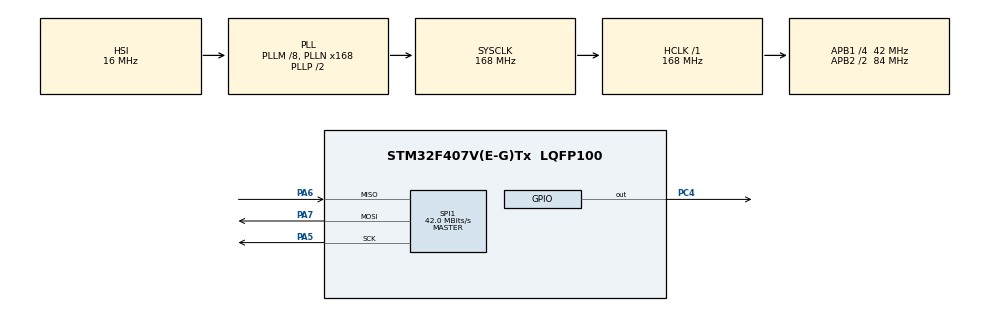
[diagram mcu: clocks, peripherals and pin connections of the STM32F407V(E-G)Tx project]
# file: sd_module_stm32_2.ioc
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FATFS._MAX_SS=4096
FATFS._USE_LFN=1
Mcu.Family=STM32F4
Mcu.Name=STM32F407V(E-G)Tx
Mcu.Package=LQFP100
NVIC.PriorityGroup=NVIC_PRIORITYGROUP_0
PA13.Mode=Serial_Wire
PA13.Signal=SYS_JTMS-SWDIO
PA14.Mode=Serial_Wire
PA14.Signal=SYS_JTCK-SWCLK
PA5.Mode=Full_Duplex_Master
PA5.Signal=SPI1_SCK
PA6.Mode=Full_Duplex_Master
PA6.Signal=SPI1_MISO
PA7.Mode=Full_Duplex_Master
PA7.Signal=SPI1_MOSI
PC4.Signal=GPIO_Output
PH0-OSC_IN.Mode=HSE-External-Oscillator
PH0-OSC_IN.Signal=RCC_OSC_IN
PH1-OSC_OUT.Mode=HSE-External-Oscillator
PH1-OSC_OUT.Signal=RCC_OSC_OUT
ProjectManager.HeapSize=0x200
ProjectManager.StackSize=0x400
ProjectManager.TargetToolchain=STM32CubeIDE
RCC.48MHZClocksFreq_Value=48000000
RCC.AHBFreq_Value=168000000
RCC.APB1CLKDivider=RCC_HCLK_DIV4
RCC.APB1Freq_Value=42000000
RCC.APB1TimFreq_Value=84000000
RCC.APB2CLKDivider=RCC_HCLK_DIV2
RCC.APB2Freq_Value=84000000
RCC.APB2TimFreq_Value=168000000
RCC.CortexFreq_Value=168000000
RCC.HCLKFreq_Value=168000000
RCC.HSE_VALUE=8000000
RCC.HSI_VALUE=16000000
RCC.LSE_VALUE=32768
RCC.PLLM=8
RCC.PLLN=168
RCC.PLLQ=7
RCC.SYSCLKFreq_VALUE=168000000
RCC.SYSCLKSource=RCC_SYSCLKSOURCE_PLLCLK
RCC.VCOOutputFreq_Value=336000000
SPI1.CalculateBaudRate=42.0 MBits/s
SPI1.Direction=SPI_DIRECTION_2LINES
SPI1.Mode=SPI_MODE_MASTER
SPI1.VirtualType=VM_MASTER
VP_FATFS_VS_Generic.Mode=User_defined
board=STM32F407G-DISC1

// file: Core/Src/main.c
/* USER CODE BEGIN Header */
/**
  ******************************************************************************
  * @file           : main.c
  * @brief          : Main program body - CIFAR-10 Full Dataset Reader
  ******************************************************************************
  * @attention
  *
  * This version is optimized for reading all 10,000 CIFAR-10 validation images
  * from batch files in one-line format.
  *
  ******************************************************************************
  */
/* USER CODE END Header */
#include "main.h"
#include "fatfs.h"

/* USER CODE BEGIN Includes */
#include "fatfs_sd.h"
#include <stdio.h>
#include <string.h>
#include <stdlib.h>
/* USER CODE END Includes */

/* USER CODE BEGIN PD */

FATFS fs; // file system
FIL fil; // file
FRESULT fresult; // to store the result
char buffer[16384]; // buffer for reading lines (larger for long lines)

UINT br, bw; // file read/write count

/* capacity related variables */
FATFS *pfs;
DWORD fre_clust;
uint32_t total, free_space;

/* CIFAR-10 related variables */
uint8_t image_data[32][32][3]; // RGB image data array
uint8_t current_label; // Current image label
uint32_t current_image_index = 0; // Current image index
uint32_t total_images_read = 0; // Total images read so far

/* File names for the batch files */
const char* batch_files[] = {
    "cifar10_batch_1.txt",
    "cifar10_batch_2.txt",
    "cifar10_batch_3.txt",
    "cifar10_batch_4.txt",
    "cifar10_batch_5.txt",
    "cifar10_batch_6.txt",
    "cifar10_batch_7.txt",
    "cifar10_batch_8.txt",
    "cifar10_batch_9.txt",
    "cifar10_batch_10.txt"
};
#define NUM_BATCH_FILES (sizeof(batch_files) / sizeof(batch_files[0]))

/* Current batch file index */
uint8_t current_batch = 0;

/* Flag for processing data */
uint8_t ready_to_process = 0;
uint8_t led_state = 0;

/* USER CODE END PD */

SPI_HandleTypeDef hspi1;

void SystemClock_Config(void);
static void MX_GPIO_Init(void);
static void MX_SPI1_Init(void);
/* USER CODE BEGIN PFP */

/* Retarget printf to ITM for SWO output */
int _write(int file, char *ptr, int len) {
    int i;
    for (i = 0; i < len; i++) {
        ITM_SendChar(*ptr++);
    }
    return len;
}

/* USER CODE END PFP */

/* USER CODE BEGIN 0 */

/* Clear buffer */
void bufclear(void)
{
    memset(buffer, 0, sizeof(buffer));
}

/* Open next batch file */
FRESULT open_next_batch_file(void)
{
    FRESULT fr;

    // Close current file if open
    if (!f_error(&fil)) {
        f_close(&fil);
    }

    // Open the next batch file
    printf("Opening batch file: %s\n", batch_files[current_batch]);
    fr = f_open(&fil, batch_files[current_batch], FA_READ);
    if (fr != FR_OK) {
        printf("Failed to open batch file: %d\n", fr);
    }

    return fr;
}

/* Function to safely extract a number from a string pointer and advance the pointer */
int extract_number(char **ptr)
{
    char *start = *ptr;
    char *end;
    int value;

    // Skip any non-digit characters
    while (*start && (*start < '0' || *start > '9')) {
        start++;
    }

    // Convert to integer
    value = (int)strtol(start, &end, 10);

    // Update the pointer to the end of the number
    *ptr = end;

    return value;
}

/* Read a CIFAR-10 image from the one-line format file - more robust version */
FRESULT read_cifar_oneline_image(void)
{
    FRESULT fr;
    char *ptr, *line_ptr;
    int r, g, b;
    int expected_pixels = 32*32;
    int pixels_read = 0;

    // Clear buffer and image data
    bufclear();
    memset(image_data, 0, sizeof(image_data));

    // Check if file is open
    if (f_error(&fil)) {
        // If no file is open, open the first batch
        fr = open_next_batch_file();
        if (fr != FR_OK) {
            return fr;
        }
    }

    // Read a line from the file
    if (f_gets(buffer, sizeof(buffer), &fil) == NULL) {
        // End of file reached, try next batch
        current_batch++;
        if (current_batch >= NUM_BATCH_FILES) {
            // We've gone through all batches, start over from the first one
            current_batch = 0;
            printf("Completed all batches, starting over from batch 1\n");
        }

        // Open the next batch file
        fr = open_next_batch_file();
        if (fr != FR_OK) {
            return fr;
        }

        // Try reading again from the new file
        if (f_gets(buffer, sizeof(buffer), &fil) == NULL) {
            printf("Error reading from batch file after opening\n");
            return FR_INT_ERR;
        }
    }

    // Parse the line - first check if it has enough content
    if (strlen(buffer) < 100) { // Simple check for minimal valid length
        printf("Line too short to be valid: %lu bytes\n", (unsigned long)strlen(buffer));
        return FR_INT_ERR;
    }

    // Extract IMAGE index and LABEL
    ptr = buffer;

    // Find "IMAGE:" marker
    ptr = strstr(ptr, "IMAGE:");
    if (!ptr) {
        printf("IMAGE: tag not found\n");
        return FR_INT_ERR;
    }
    ptr += 6; // Skip "IMAGE:"

    // Get image index
    current_image_index = extract_number(&ptr);

    // Find "LABEL:" marker
    ptr = strstr(ptr, "LABEL:");
    if (!ptr) {
        printf("LABEL: tag not found\n");
        return FR_INT_ERR;
    }
    ptr += 6; // Skip "LABEL:"

    // Get label
    current_label = (uint8_t)extract_number(&ptr);

    // Find first comma after LABEL
    ptr = strchr(ptr, ',');
    if (!ptr) {
        printf("No comma after LABEL\n");
        return FR_INT_ERR;
    }
    ptr++; // Skip comma

    // Start parsing pixel values - more robust approach
    line_ptr = ptr;
    for (int row = 0; row < 32; row++) {
        for (int col = 0; col < 32; col++) {
            // Check if we've reached the end of the string
            if (!*line_ptr || pixels_read >= expected_pixels) {
                if (pixels_read < expected_pixels) {
                    printf("End of data reached prematurely at pixel %d/%d\n",
                           pixels_read, expected_pixels);
                    return FR_INT_ERR;
                }
                break;
            }

            // Extract R value
            r = extract_number(&line_ptr);
            image_data[row][col][0] = (uint8_t)r;

            // Skip to next value (past comma or any other delimiter)
            while (*line_ptr && *line_ptr != ',' && (*line_ptr < '0' || *line_ptr > '9')) {
                line_ptr++;
            }
            if (*line_ptr == ',') line_ptr++; // Skip comma

            // Check if we've reached the end of the string
            if (!*line_ptr) {
                printf("Unexpected end after R value at pixel %d/%d\n",
                       pixels_read, expected_pixels);
                return FR_INT_ERR;
            }

            // Extract G value
            g = extract_number(&line_ptr);
            image_data[row][col][1] = (uint8_t)g;

            // Skip to next value
            while (*line_ptr && *line_ptr != ',' && (*line_ptr < '0' || *line_ptr > '9')) {
                line_ptr++;
            }
            if (*line_ptr == ',') line_ptr++; // Skip comma

            // Check if we've reached the end of the string
            if (!*line_ptr) {
                printf("Unexpected end after G value at pixel %d/%d\n",
                       pixels_read, expected_pixels);
                return FR_INT_ERR;
            }

            // Extract B value
            b = extract_number(&line_ptr);
            image_data[row][col][2] = (uint8_t)b;

            // Skip to next value
            while (*line_ptr && *line_ptr != ',' && (*line_ptr < '0' || *line_ptr > '9')) {
                line_ptr++;
            }
            if (*line_ptr == ',') line_ptr++; // Skip comma

            // Increment pixel counter
            pixels_read++;
        }
    }

    // Verify we read all pixels
    if (pixels_read < expected_pixels) {
        printf("Not enough pixel data: read %d/%d pixels\n", pixels_read, expected_pixels);
        return FR_INT_ERR;
    }

    // Increment the total images read counter
    total_images_read++;

    // Set the processing flag
    ready_to_process = 1;

    return FR_OK;
}

/* Process the current image - add your image processing code here */
void process_cifar_image(void)
{
    // Example: Calculate average RGB values
    uint32_t avg_r = 0, avg_g = 0, avg_b = 0;

    for (int row = 0; row < 32; row++) {
        for (int col = 0; col < 32; col++) {
            avg_r += image_data[row][col][0];
            avg_g += image_data[row][col][1];
            avg_b += image_data[row][col][2];
        }
    }

    avg_r /= 1024; // 32*32
    avg_g /= 1024;
    avg_b /= 1024;

    printf("Image #%lu (Batch %d): Label=%d, Avg RGB=(%lu,%lu,%lu)\n",
           current_image_index, current_batch + 1, current_label,
           avg_r, avg_g, avg_b);

    // Here you can add your own image processing, such as:
    // - Feature extraction
    // - Classification
    // - Neural network inference
    // - Image transformation

    // Toggle LED to indicate successful processing
    led_state = !led_state;
    HAL_GPIO_WritePin(GPIOC, GPIO_PIN_4, led_state ? GPIO_PIN_SET : GPIO_PIN_RESET);

    // Clear the processing flag
    ready_to_process = 0;
}

/* USER CODE END 0 */

int main(void)
{

  /* MCU Configuration--------------------------------------------------------*/

  /* Reset of all peripherals, Initializes the Flash interface and the Systick. */
  HAL_Init();

  /* Configure the system clock */
  SystemClock_Config();

  /* Initialize all configured peripherals */
  MX_GPIO_Init();
  MX_SPI1_Init();
  MX_FATFS_Init();
  /* USER CODE BEGIN 2 */

  /* Delay for SD card initialization */
  HAL_Delay(500);

  printf("\n\n*** CIFAR-10 Full Dataset Reader ***\n\n");

  /* Mount SD Card */
  fresult = f_mount(&fs, "", 1);
  if(fresult != FR_OK) {
      printf("Error in mounting SD Card: %d\n", fresult);

      /* Try to unmount and remount */
      f_mount(NULL, "", 1);
      HAL_Delay(100);
      fresult = f_mount(&fs, "", 1);

      if(fresult != FR_OK) {
          printf("SD Card mount retry failed: %d\n", fresult);
          Error_Handler();
      } else {
          printf("SD Card mount successful after retry!\n");
      }
  } else {
      printf("SD Card mounted successfully!\n");
  }

  /* Check free space */
  fresult = f_getfree("", &fre_clust, &pfs);
  if(fresult == FR_OK) {
      total = (uint32_t)((pfs->n_fatent - 2) * pfs->csize * 0.5);
      printf("SD CARD Total Size: \t%lu KB\n", total);

      free_space = (uint32_t)(fre_clust * pfs->csize * 0.5);
      printf("SD CARD Free Space: \t%lu KB\n", free_space);
  }

  /* List available files to help debugging */
  printf("\nChecking for CIFAR-10 batch files:\n");

  DIR dir;
  FILINFO fno;
  uint8_t batch_files_found = 0;

  fresult = f_opendir(&dir, "/");
  if (fresult == FR_OK) {
      for (;;) {
          fresult = f_readdir(&dir, &fno);
          if (fresult != FR_OK || fno.fname[0] == 0) break;

          // Check if this is a batch file
          for (uint8_t i = 0; i < NUM_BATCH_FILES; i++) {
              if (strcmp(fno.fname, batch_files[i]) == 0) {
                  printf("   [✓] Found batch file: %s (%lu bytes)\n", fno.fname, fno.fsize);
                  batch_files_found++;
                  break;
              }
          }
      }
      f_closedir(&dir);
  }

  printf("\nFound %d of %d batch files\n", batch_files_found, NUM_BATCH_FILES);

  if (batch_files_found == 0) {
      printf("\n*** ERROR: No batch files found! ***\n");
      printf("Please ensure the batch files are in the root directory of the SD card.\n");
      printf("Expected files: cifar10_batch_1.txt through cifar10_batch_10.txt\n");
      Error_Handler();
  }

  /* Initialize variables */
  current_batch = 0;
  total_images_read = 0;

  /* Try to open the first batch file */
  fresult = open_next_batch_file();
  if (fresult != FR_OK) {
      printf("Failed to open first batch file: %d\n", fresult);
      Error_Handler();
  }

  /* Read first image to verify the file format */
  printf("\nReading first image to verify format...\n");
  fresult = read_cifar_oneline_image();
  if (fresult != FR_OK) {
      printf("Failed to read first image: %d\n", fresult);

      // Try a different batch file
      printf("Trying a different batch file...\n");
      current_batch = (current_batch + 1) % NUM_BATCH_FILES;
      fresult = open_next_batch_file();
      if (fresult != FR_OK) {
          printf("Failed to open alternate batch file: %d\n", fresult);
          Error_Handler();
      }

      fresult = read_cifar_oneline_image();
      if (fresult != FR_OK) {
          printf("Failed to read from alternate batch file: %d\n", fresult);
          Error_Handler();
      }
  }

  printf("Successfully read first image (Label: %d)\n", current_label);
  printf("First 3 pixels (R,G,B): (%d,%d,%d) (%d,%d,%d) (%d,%d,%d)\n",
         image_data[0][0][0], image_data[0][0][1], image_data[0][0][2],
         image_data[0][1][0], image_data[0][1][1], image_data[0][1][2],
         image_data[0][2][0], image_data[0][2][1], image_data[0][2][2]);

  /* Process the first image */
  process_cifar_image();

  printf("\nReady to process all 10,000 CIFAR-10 images!\n");
  printf("Starting main loop...\n\n");

  /* USER CODE END 2 */

  /* Infinite loop */
  while (1)
  {

    /* USER CODE BEGIN 3 */
    // Read the next CIFAR-10 image
    fresult = read_cifar_oneline_image();

    if (fresult == FR_OK && ready_to_process) {
        // Process the image
        process_cifar_image();

        // Print status every 100 images
        if (total_images_read % 100 == 0) {
            printf("\n*** Processed %lu images so far ***\n\n", total_images_read);
        }
    } else if (fresult != FR_OK) {
        printf("Error reading image: %d\n", fresult);

        // Try to recover by moving to the next batch file
        printf("Attempting recovery - switching to next batch file\n");
        current_batch = (current_batch + 1) % NUM_BATCH_FILES;
        fresult = open_next_batch_file();
        if (fresult != FR_OK) {
            printf("Recovery failed - could not open next batch file\n");
            HAL_Delay(1000);
        }
    }

    // Small delay to avoid overwhelming the system
    // Adjust this based on your processing needs
    HAL_Delay(10);
  }
  /* USER CODE END 3 */
}

void SystemClock_Config(void)
{
  RCC_OscInitTypeDef RCC_OscInitStruct = {0};
  RCC_ClkInitTypeDef RCC_ClkInitStruct = {0};

  /** Configure the main internal regulator output voltage
  */
  __HAL_RCC_PWR_CLK_ENABLE();
  __HAL_PWR_VOLTAGESCALING_CONFIG(PWR_REGULATOR_VOLTAGE_SCALE1);

  /** Initializes the RCC Oscillators according to the specified parameters
  * in the RCC_OscInitTypeDef structure.
  */
  RCC_OscInitStruct.OscillatorType = RCC_OSCILLATORTYPE_HSI;
  RCC_OscInitStruct.HSIState = RCC_HSI_ON;
  RCC_OscInitStruct.HSICalibrationValue = RCC_HSICALIBRATION_DEFAULT;
  RCC_OscInitStruct.PLL.PLLState = RCC_PLL_ON;
  RCC_OscInitStruct.PLL.PLLSource = RCC_PLLSOURCE_HSI;
  RCC_OscInitStruct.PLL.PLLM = 8;
  RCC_OscInitStruct.PLL.PLLN = 168;
  RCC_OscInitStruct.PLL.PLLP = RCC_PLLP_DIV2;
  RCC_OscInitStruct.PLL.PLLQ = 7;
  if (HAL_RCC_OscConfig(&RCC_OscInitStruct) != HAL_OK)
  {
    Error_Handler();
  }

  /** Initializes the CPU, AHB and APB buses clocks
  */
  RCC_ClkInitStruct.ClockType = RCC_CLOCKTYPE_HCLK|RCC_CLOCKTYPE_SYSCLK
                              |RCC_CLOCKTYPE_PCLK1|RCC_CLOCKTYPE_PCLK2;
  RCC_ClkInitStruct.SYSCLKSource = RCC_SYSCLKSOURCE_PLLCLK;
  RCC_ClkInitStruct.AHBCLKDivider = RCC_SYSCLK_DIV1;
  RCC_ClkInitStruct.APB1CLKDivider = RCC_HCLK_DIV4;
  RCC_ClkInitStruct.APB2CLKDivider = RCC_HCLK_DIV2;

  if (HAL_RCC_ClockConfig(&RCC_ClkInitStruct, FLASH_LATENCY_5) != HAL_OK)
  {
    Error_Handler();
  }
}

static void MX_SPI1_Init(void)
{

  /* SPI1 parameter configuration*/
  hspi1.Instance = SPI1;
  hspi1.Init.Mode = SPI_MODE_MASTER;
  hspi1.Init.Direction = SPI_DIRECTION_2LINES;
  hspi1.Init.DataSize = SPI_DATASIZE_8BIT;
  hspi1.Init.CLKPolarity = SPI_POLARITY_LOW;
  hspi1.Init.CLKPhase = SPI_PHASE_1EDGE;
  hspi1.Init.NSS = SPI_NSS_SOFT;
  hspi1.Init.BaudRatePrescaler = SPI_BAUDRATEPRESCALER_64; // Changed from 2 to 64 for slower clock
  hspi1.Init.FirstBit = SPI_FIRSTBIT_MSB;
  hspi1.Init.TIMode = SPI_TIMODE_DISABLE;
  hspi1.Init.CRCCalculation = SPI_CRCCALCULATION_DISABLE;
  hspi1.Init.CRCPolynomial = 10;
  if (HAL_SPI_Init(&hspi1) != HAL_OK)
  {
    Error_Handler();
  }

}

static void MX_GPIO_Init(void)
{
  GPIO_InitTypeDef GPIO_InitStruct = {0};

  /* GPIO Ports Clock Enable */
  __HAL_RCC_GPIOH_CLK_ENABLE();
  __HAL_RCC_GPIOA_CLK_ENABLE();
  __HAL_RCC_GPIOC_CLK_ENABLE();

  /*Configure GPIO pin Output Level */
  HAL_GPIO_WritePin(GPIOC, GPIO_PIN_4, GPIO_PIN_RESET);

  /*Configure GPIO pin : PC4 */
  GPIO_InitStruct.Pin = GPIO_PIN_4;
  GPIO_InitStruct.Mode = GPIO_MODE_OUTPUT_PP;
  GPIO_InitStruct.Pull = GPIO_NOPULL;
  GPIO_InitStruct.Speed = GPIO_SPEED_FREQ_LOW;
  HAL_GPIO_Init(GPIOC, &GPIO_InitStruct);

}

void Error_Handler(void)
{
  /* USER CODE BEGIN Error_Handler_Debug */
  /* User can add his own implementation to report the HAL error return state */
  __disable_irq();
  while (1)
  {
    HAL_GPIO_TogglePin(GPIOC, GPIO_PIN_4);
    HAL_Delay(100);
  }
  /* USER CODE END Error_Handler_Debug */
}
